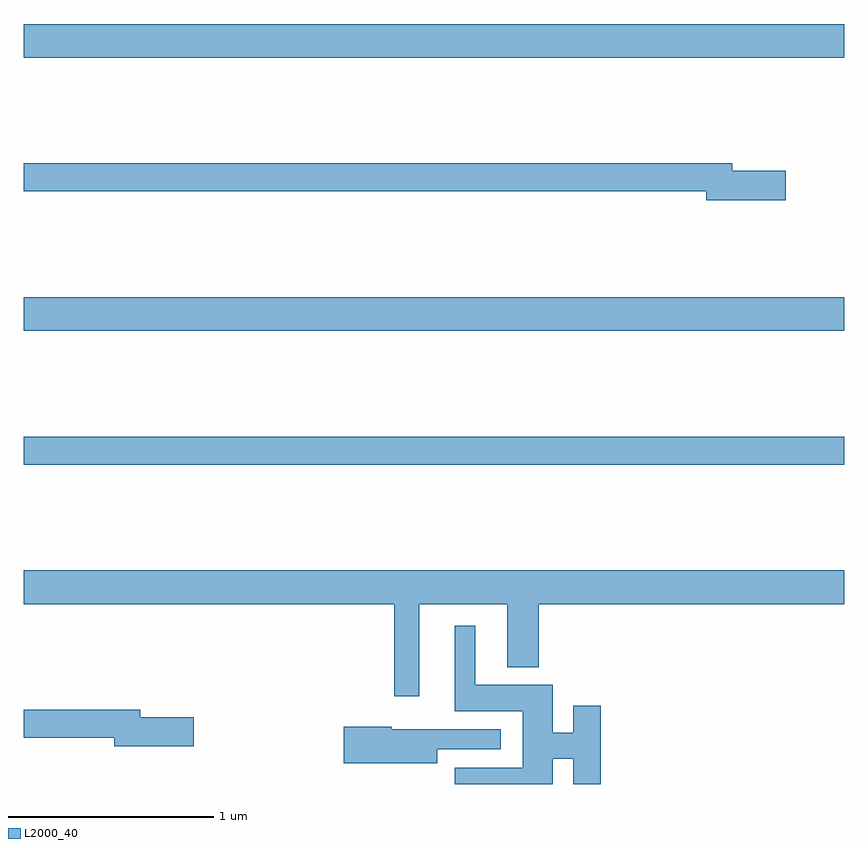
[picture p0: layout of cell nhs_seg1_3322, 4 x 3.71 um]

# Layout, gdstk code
import gdstk
lib = gdstk.Library(unit=1e-6, precision=1e-09)
def R(c, l, rs):  # rectangles x0, y0, x1, y1
    for r in rs: c.add(gdstk.rectangle(r[:2], r[2:], *l))
def P(c, l, *ps):  # polygons
    for p in ps: c.add(gdstk.Polygon(p, *l))
L2000_40 = (2000, 40)

nhs_seg1_3322 = lib.new_cell('nhs_seg1_3322')
R(nhs_seg1_3322, L2000_40, [(291,541.756,295,541.892), (291,542.408,295,542.572), (291,543.74,295,543.904)])
P(nhs_seg1_3322, L2000_40, [(294.715,543.188),(294.454,543.188),(294.454,543.224),(291,543.224),(291,543.088),(294.326,543.088),(294.326,543.046),(294.715,543.046)],
  [(292.927,541.076),(293.357,541.076),(293.357,540.767),(293.51,540.767),(293.51,541.076),(295,541.076),(295,541.24),(291,541.24),(291,541.076),(292.806,541.076),(292.806,540.627),(292.927,540.627)],
  [(293.578,540.321),(293.678,540.321),(293.678,540.199),(293.813,540.199),(293.813,540.58),(293.678,540.58),(293.678,540.449),(293.578,540.449),(293.578,540.682),(293.2,540.682),(293.2,540.97),(293.102,540.97),(293.102,540.554),(293.432,540.554),(293.432,540.279),(293.102,540.279),(293.102,540.199),(293.578,540.199)],
  [(291.829,540.524),(291.568,540.524),(291.568,540.56),(291,540.56),(291,540.424),(291.44,540.424),(291.44,540.382),(291.829,540.382)],
  [(293.017,540.369),(293.326,540.369),(293.326,540.465),(293.013,540.465),(293.013,540.466),(292.794,540.466),(292.794,540.479),(292.56,540.479),(292.56,540.301),(293.017,540.301)])

lib.write_gds('nhs_seg1_3322.gds')
